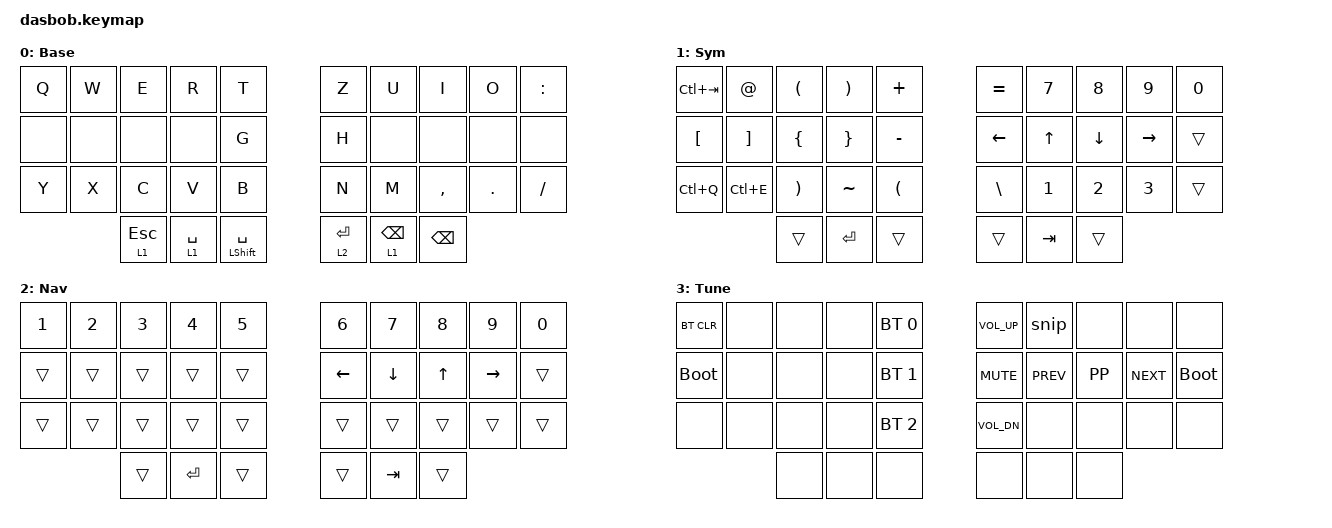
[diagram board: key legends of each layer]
#include <behaviors.dtsi>
#include <dt-bindings/zmk/bt.h>
#include <dt-bindings/zmk/keys.h>

/ {
    combos {
        compatible = "zmk,combos";

        to_base {
            bindings = <&to 0>;
            key-positions = <13 16>;
        };

        to_cyr {
            bindings = <&none>;
            key-positions = <14 15>;
        };
    };

    keymap {
        compatible = "zmk,keymap";

        Base {
            label = "Base";
            bindings = <
&kp Q  &kp W  &kp E      &kp R        &kp T                 &kp Z        &kp U            &kp I          &kp O    &kp COLON
&none  &none  &none      &none        &kp G                 &kp H        &none            &none          &none    &none
&kp Y  &kp X  &kp C      &kp V        &kp B                 &kp N        &kp M            &kp COMMA      &kp DOT  &kp SLASH
              &lt 1 ESC  &lt 1 SPACE  &mt LEFT_SHIFT SPACE  &lt 2 ENTER  &lt 1 BACKSPACE  &kp BACKSPACE
            >;
        };

        Sym {
            label = "Sym";
            bindings = <
&kp LC(TAB)       &kp AT             &kp LPAR        &kp RPAR         &kp PLUS   &kp EQUAL       &kp N7   &kp N8    &kp N9     &kp N0
&kp LEFT_BRACKET  &kp RIGHT_BRACKET  &kp LEFT_BRACE  &kp RIGHT_BRACE  &kp MINUS  &kp LEFT_ARROW  &kp UP   &kp DOWN  &kp RIGHT  &trans
&kp LC(Q)         &kp LC(E)          &kp RPAR        &kp TILDE        &kp LPAR   &kp BSLH        &kp N1   &kp N2    &kp N3     &trans
                                     &trans          &kp ENTER        &trans     &trans          &kp TAB  &trans
            >;
        };

        Nav {
            label = "Nav";
            bindings = <
&kp NUMBER_1  &kp NUMBER_2  &kp NUMBER_3  &kp NUMBER_4  &kp N5  &kp NUMBER_6    &kp N7          &kp N8        &kp N9           &kp N0
&trans        &trans        &trans        &trans        &trans  &kp LEFT_ARROW  &kp DOWN_ARROW  &kp UP_ARROW  &kp RIGHT_ARROW  &trans
&trans        &trans        &trans        &trans        &trans  &trans          &trans          &trans        &trans           &trans
                            &trans        &kp ENTER     &trans  &trans          &kp TAB         &trans
            >;
        };

        Tune {
            label = "Tune";
            bindings = <
&bt BT_CLR   &none  &none  &none  &bt BT_SEL 0  &kp C_VOLUME_UP  &snip       &none     &none       &none
&bootloader  &none  &none  &none  &bt BT_SEL 1  &kp K_MUTE       &kp K_PREV  &kp K_PP  &kp K_NEXT  &bootloader
&none        &none  &none  &none  &bt BT_SEL 2  &kp C_VOL_DN     &none       &none     &none       &none
                    &none  &none  &none         &none            &none       &none
            >;
        };
    };

    conditional_layers {
        compatible = "zmk,conditional-layers";

        raise_lower {
            if-layers = <2 1>;
            then-layer = <3>;
        };
    };
};
